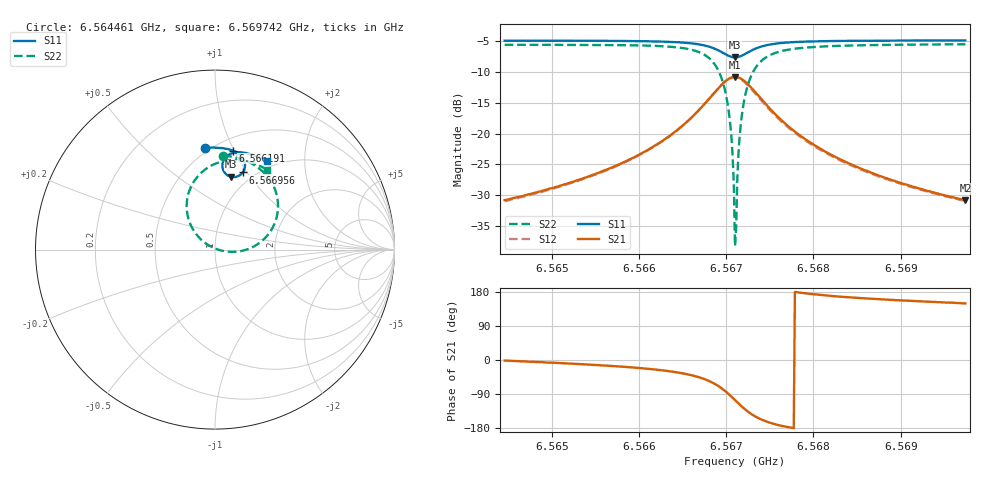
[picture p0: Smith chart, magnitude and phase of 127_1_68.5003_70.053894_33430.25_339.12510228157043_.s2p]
#  HZ  S  RI  R  50.00
! Rohde & Schwarz Vector Network Analyzer
! Rohde-Schwarz,ZNB20-2Port,1311601062101988,3.16
! Created: UTC 3/20/2024, 5:09:21 PM
! freq[Hz]  re:S11  im:S11  re:S21  im:S21  re:S12  im:S12  re:S22  im:S22
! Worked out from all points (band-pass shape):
!   401 points, 6.564461 GHz to 6.569742 GHz, reference 50 ohm
!   highest |S21| = -10.79 dB at 6.567102 GHz (marker M1); lowest = -30.8 dB at 6.569742 GHz (marker M2)
!   |S21| within 3 dB of the highest: 6.566839 GHz to 6.567367 GHz (528.1 kHz wide, 0.00804 % of centre)
!   lowest |S11| = -7.6 dB at 6.567102 GHz (marker M3), VSWR 2.42, Z = 41.7 + j40.9 ohm
!   |S11| at or under -10 dB: nowhere
!   |S22| runs from -38.3 to -5.5 dB; largest |S21 - S12| = 0.014
!   S11 on the Smith chart (normalised r, x): 6.564461 GHz: 0.47, +0.79; 6.566191 GHz: 0.61, +0.99; 6.566956 GHz: 0.88, +0.96; 6.569742 GHz: 0.91, +1.32
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6.564461e9  -0.0548 0.5664  0.0289 -0.000684  0.0283 -0.00126  0.0454 0.5237
6.5653456e9  0.018 0.5675  0.0421 -0.00839  0.0415 -0.0089  0.1301 0.5093
6.5661905e9  0.0979 0.5519  0.0728 -0.0343  0.0717 -0.0351  0.2438 0.4546
6.5662301e9  0.1023 0.5503  0.0751 -0.037  0.074 -0.038  0.2508 0.4489
6.5665338e9  0.138 0.5289  0.0977 -0.0728  0.0961 -0.0742  0.3127 0.3786
6.566745e9  0.1623 0.4954  0.1107 -0.1314  0.108 -0.1339  0.3503 0.2659
6.5668639e9  0.167 0.462  0.0999 -0.1897  0.0951 -0.193  0.3356 0.1547
6.5669563e9  0.1543 0.4296  0.0611 -0.2453  0.0525 -0.2481  0.2649 0.0511
6.5670355e9  0.1247 0.4077  -0.00641 -0.2798  -0.0183 -0.279  0.1407 -0.00885
6.5670619e9  0.1115 0.4045  -0.0348 -0.2832  -0.0471 -0.2804  0.0895 -0.0126
6.5670883e9  0.0974 0.4044  -0.0641 -0.2811  -0.0765 -0.276  0.0374 -0.00579
6.5671015e9  0.0906 0.4055  -0.0786 -0.2777  -0.0907 -0.2716  0.0121 0.00175
6.5671147e9  0.0837 0.4072  -0.0927 -0.273  -0.1045 -0.2658  -0.0125 0.0117
6.5671279e9  0.0772 0.4099  -0.1062 -0.2669  -0.1175 -0.2589  -0.0355 0.0241
6.5671543e9  0.0654 0.4172  -0.1308 -0.2512  -0.1404 -0.2414  -0.0765 0.055
6.5671939e9  0.0518 0.4318  -0.1594 -0.2213  -0.1663 -0.21  -0.122 0.1114
6.5672335e9  0.0439 0.4485  -0.1777 -0.188  -0.1816 -0.1763  -0.1482 0.1721
6.5672995e9  0.0415 0.4753  -0.1879 -0.1353  -0.188 -0.1248  -0.1569 0.2649
6.5675504e9  0.0798 0.5299  -0.144 -0.0283  -0.1407 -0.0239  -0.0561 0.4452
6.5679861e9  0.143 0.5422  -0.0824 0.00874  -0.0803 0.0101  0.0824 0.4976
6.5688706e9  0.2264 0.5222  -0.0398 0.0153  -0.0389 0.0156  0.2129 0.4807
6.569742e9  0.2911 0.4909  -0.0248 0.0148  -0.0243 0.0148  0.2906 0.4455
